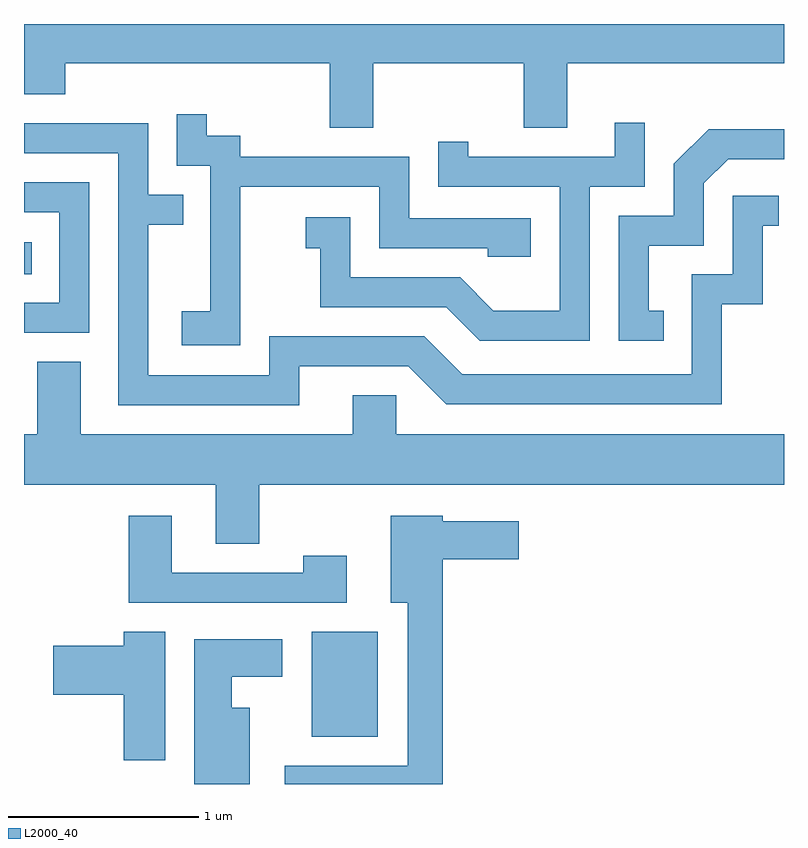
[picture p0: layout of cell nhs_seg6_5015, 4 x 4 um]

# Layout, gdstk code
import gdstk
lib = gdstk.Library(unit=1e-6, precision=1e-09)
def R(c, l, rs):  # rectangles x0, y0, x1, y1
    for r in rs: c.add(gdstk.rectangle(r[:2], r[2:], *l))
def P(c, l, *ps):  # polygons
    for p in ps: c.add(gdstk.Polygon(p, *l))
L2000_40 = (2000, 40)

nhs_seg6_5015 = lib.new_cell('nhs_seg6_5015')
R(nhs_seg6_5015, L2000_40, [(339.126,1626.411,339.474,1626.964), (337.611,1628.846,337.653,1629.014)])
P(nhs_seg6_5015, L2000_40, [(339.449,1629.956),(340.241,1629.956),(340.241,1629.616),(340.469,1629.616),(340.469,1629.956),(341.611,1629.956),(341.611,1630.162),(337.611,1630.162),(337.611,1629.791),(337.829,1629.791),(337.829,1629.956),(339.221,1629.956),(339.221,1629.616),(339.449,1629.616)],
  [(338.749,1629.306),(339.481,1629.306),(339.481,1628.981),(340.051,1628.981),(340.051,1628.936),(340.279,1628.936),(340.279,1629.139),(339.639,1629.139),(339.639,1629.464),(338.749,1629.464),(338.749,1629.574),(338.574,1629.574),(338.574,1629.688),(338.416,1629.688),(338.416,1629.416),(338.591,1629.416),(338.591,1628.649),(338.441,1628.649),(338.441,1628.471),(338.749,1628.471)],
  [(340.589,1629.306),(340.879,1629.306),(340.879,1629.643),(340.721,1629.643),(340.721,1629.464),(339.949,1629.464),(339.949,1629.543),(339.791,1629.543),(339.791,1629.306),(340.431,1629.306),(340.431,1628.654),(340.082,1628.654),(339.907,1628.829),(339.329,1628.829),(339.329,1629.144),(339.093,1629.144),(339.093,1628.981),(339.171,1628.981),(339.171,1628.671),(339.834,1628.671),(340.009,1628.496),(340.589,1628.496)],
  [(339.059,1628.361),(339.634,1628.361),(339.834,1628.161),(341.284,1628.161),(341.284,1628.686),(341.499,1628.686),(341.499,1629.101),(341.583,1629.101),(341.583,1629.259),(341.341,1629.259),(341.341,1628.844),(341.126,1628.844),(341.126,1628.319),(339.917,1628.319),(339.717,1628.519),(338.901,1628.519),(338.901,1628.314),(338.264,1628.314),(338.264,1629.106),(338.448,1629.106),(338.448,1629.264),(338.264,1629.264),(338.264,1629.639),(337.611,1629.639),(337.611,1629.481),(338.106,1629.481),(338.106,1628.156),(339.059,1628.156)],
  [(340.978,1628.654),(340.899,1628.654),(340.899,1628.996),(341.189,1628.996),(341.189,1629.324),(341.317,1629.451),(341.611,1629.451),(341.611,1629.609),(341.214,1629.609),(341.031,1629.427),(341.031,1629.154),(340.741,1629.154),(340.741,1628.496),(340.978,1628.496)],
  [(337.954,1629.329),(337.611,1629.329),(337.611,1629.171),(337.796,1629.171),(337.796,1628.694),(337.611,1628.694),(337.611,1628.536),(337.954,1628.536)],
  [(338.849,1627.736),(341.611,1627.736),(341.611,1628.004),(339.569,1628.004),(339.569,1628.209),(339.341,1628.209),(339.341,1628.004),(337.909,1628.004),(337.909,1628.384),(337.681,1628.384),(337.681,1628.004),(337.611,1628.004),(337.611,1627.736),(338.621,1627.736),(338.621,1627.426),(338.849,1627.426)],
  [(339.309,1627.364),(339.081,1627.364),(339.081,1627.274),(338.389,1627.274),(338.389,1627.574),(338.161,1627.574),(338.161,1627.116),(339.309,1627.116)],
  [(339.814,1627.346),(340.214,1627.346),(340.214,1627.544),(339.814,1627.544),(339.814,1627.574),(339.541,1627.574),(339.541,1627.116),(339.631,1627.116),(339.631,1626.259),(338.983,1626.259),(338.983,1626.162),(339.814,1626.162)],
  [(338.354,1626.964),(338.136,1626.964),(338.136,1626.889),(337.766,1626.889),(337.766,1626.631),(338.136,1626.631),(338.136,1626.286),(338.354,1626.286)],
  [(338.799,1626.564),(338.704,1626.564),(338.704,1626.726),(338.969,1626.726),(338.969,1626.924),(338.506,1626.924),(338.506,1626.162),(338.799,1626.162)])

lib.write_gds('nhs_seg6_5015.gds')
